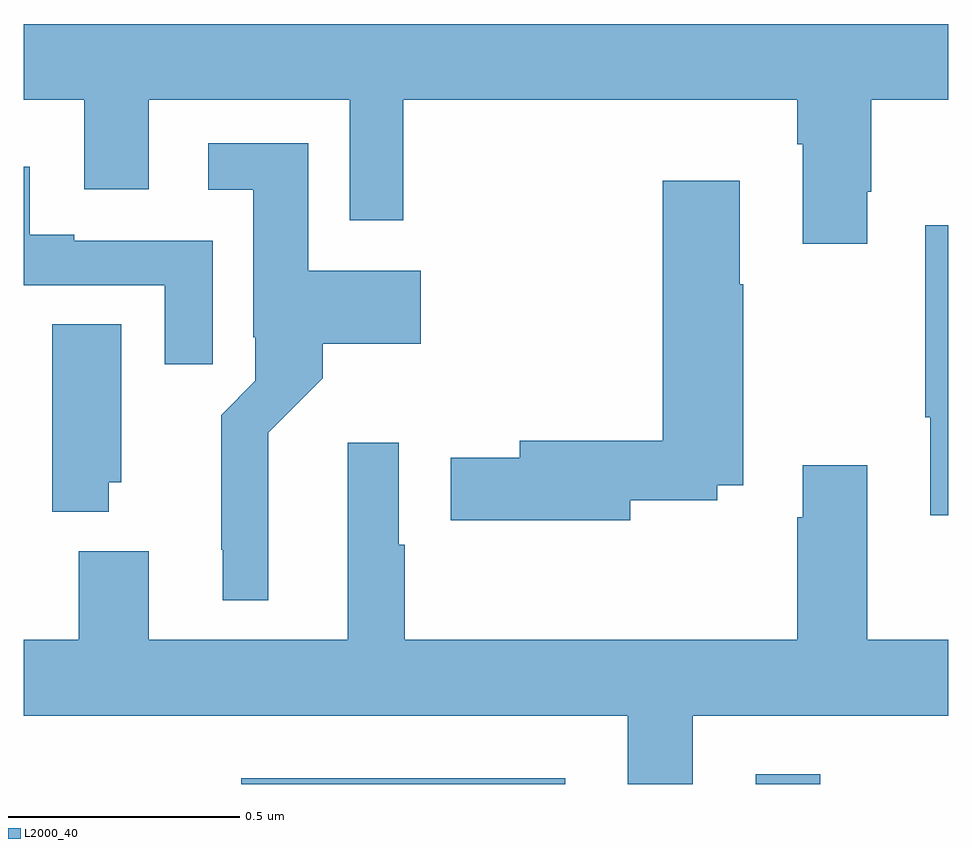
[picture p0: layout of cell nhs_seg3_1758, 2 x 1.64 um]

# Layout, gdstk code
import gdstk
lib = gdstk.Library(unit=1e-6, precision=1e-09)
def R(c, l, rs):  # rectangles x0, y0, x1, y1
    for r in rs: c.add(gdstk.rectangle(r[:2], r[2:], *l))
def P(c, l, *ps):  # polygons
    for p in ps: c.add(gdstk.Polygon(p, *l))
L2000_40 = (2000, 40)

nhs_seg3_1758 = lib.new_cell('nhs_seg3_1758')
R(nhs_seg3_1758, L2000_40, [(132.471,735.4,133.171,735.412), (133.583,735.4,133.723,735.421)])
P(nhs_seg3_1758, L2000_40, [(133.825,736.681),(133.833,736.681),(133.833,736.88),(134,736.88),(134,737.044),(132,737.044),(132,736.88),(132.131,736.88),(132.131,736.686),(132.271,736.686),(132.271,736.88),(132.705,736.88),(132.705,736.62),(132.821,736.62),(132.821,736.88),(133.673,736.88),(133.673,736.784),(133.685,736.784),(133.685,736.569),(133.825,736.569)],
  [(132.529,736.16),(132.647,736.278),(132.647,736.352),(132.859,736.352),(132.859,736.51),(132.616,736.51),(132.616,736.786),(132.399,736.786),(132.399,736.685),(132.497,736.685),(132.497,736.366),(132.501,736.366),(132.501,736.272),(132.427,736.198),(132.427,735.907),(132.431,735.907),(132.431,735.797),(132.529,735.797)],
  [(132.409,736.575),(132.109,736.575),(132.109,736.588),(132.013,736.588),(132.013,736.735),(132,736.735),(132,736.479),(132.305,736.479),(132.305,736.308),(132.409,736.308)],
  [(133.312,736.014),(133.5,736.014),(133.5,736.046),(133.557,736.046),(133.557,736.481),(133.549,736.481),(133.549,736.705),(133.382,736.705),(133.382,736.142),(133.073,736.142),(133.073,736.106),(132.924,736.106),(132.924,735.971),(133.312,735.971)],
  [(134,736.609),(133.95,736.609),(133.95,736.193),(133.961,736.193),(133.961,735.981),(134,735.981)],
  [(132.184,736.053),(132.211,736.053),(132.211,736.394),(132.062,736.394),(132.062,735.989),(132.184,735.989)],
  [(133.447,735.548),(134,735.548),(134,735.712),(133.825,735.712),(133.825,736.09),(133.685,736.09),(133.685,735.977),(133.673,735.977),(133.673,735.712),(132.824,735.712),(132.824,735.917),(132.811,735.917),(132.811,736.138),(132.701,736.138),(132.701,735.712),(132.271,735.712),(132.271,735.904),(132.119,735.904),(132.119,735.712),(132,735.712),(132,735.548),(133.307,735.548),(133.307,735.4),(133.447,735.4)])

lib.write_gds('nhs_seg3_1758.gds')
